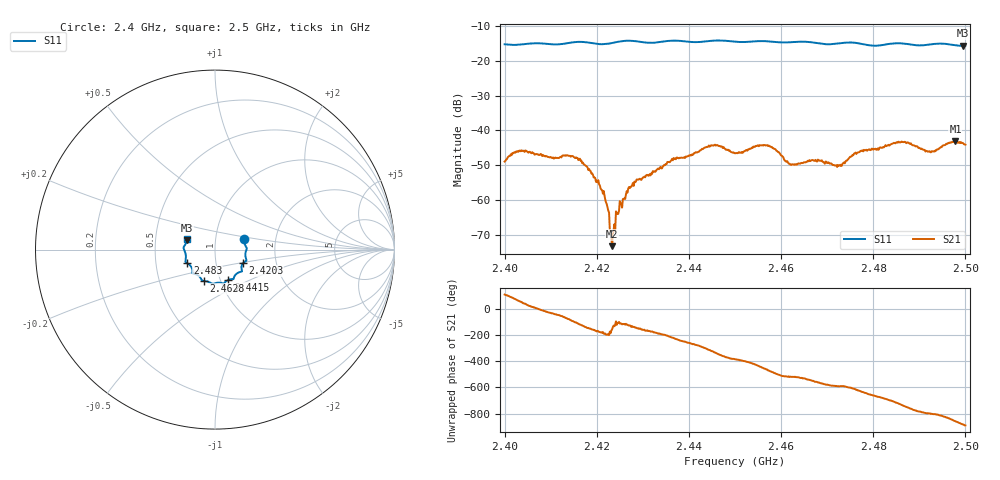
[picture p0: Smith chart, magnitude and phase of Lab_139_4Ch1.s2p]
# Hz S RI R 50
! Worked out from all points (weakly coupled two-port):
!   601 points, 2.4 GHz to 2.5 GHz, reference 50 ohm
!   highest |S21| = -43.00 dB at 2.4978 GHz (marker M1); lowest = -73.2 dB at 2.4233 GHz (marker M2)
!   lowest |S11| = -15.7 dB at 2.4995 GHz (marker M3), VSWR 1.39, Z = 36.4 + j3.84 ohm
!   |S11| at or under -10 dB: start of sweep to end of sweep
!   S12 and S22 are empty: the file has one direction only
!   S11 on the Smith chart (normalised r, x): 2.4 GHz: 1.38, +0.16; 2.4203 GHz: 1.35, -0.21; 2.4415 GHz: 1.09, -0.38; 2.4628 GHz: 0.83, -0.30; 2.483 GHz: 0.73, -0.11; 2.5 GHz: 0.73, +0.09
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2.4e9  0.1623 0.0564  -0.00131 0.00334  0 0  0 0
2.403667e9  0.1695 0.0214  0.003 0.00424  0 0  0 0
2.416667e9  0.1754 -0.062  -0.00203 -0.00309  0 0  0 0
2.420333e9  0.156 -0.0749  -0.0019 -0.000371  0 0  0 0
2.422e9  0.1487 -0.0889  -0.000906 0.00024  0 0  0 0
2.423333e9  0.1475 -0.1015  -0.000199 -9.39e-05  0 0  0 0
2.424667e9  0.1493 -0.1123  -0.000147 -0.000623  0 0  0 0
2.427333e9  0.1495 -0.1218  -0.000988 -0.0012  0 0  0 0
2.433333e9  0.1085 -0.1479  -0.00282 0.000419  0 0  0 0
2.4415e9  0.0736 -0.1691  0.000328 0.00488  0 0  0 0
2.445667e9  0.0498 -0.1877  0.00557 0.00285  0 0  0 0
2.45e9  0.0294 -0.1847  0.0043 -0.00191  0 0  0 0
2.456833e9  -0.0172 -0.189  -0.00136 -0.00598  0 0  0 0
2.462833e9  -0.0623 -0.1743  -0.00302 -0.00112  0 0  0 0
2.466667e9  -0.0754 -0.167  -0.00373 0.000494  0 0  0 0
2.472667e9  -0.1151 -0.1346  -0.00193 0.00247  0 0  0 0
2.483e9  -0.1539 -0.0765  0.00526 0.00299  0 0  0 0
2.483333e9  -0.1561 -0.0753  0.00569 0.00253  0 0  0 0
2.492833e9  -0.1723 -0.000818  0.000603 -0.00499  0 0  0 0
2.497833e9  -0.1632 0.0321  -0.00535 -0.00463  0 0  0 0
2.4995e9  -0.1551 0.0513  -0.00631 -0.00185  0 0  0 0
2.5e9  -0.1538 0.0578  -0.00618 -0.000985  0 0  0 0
